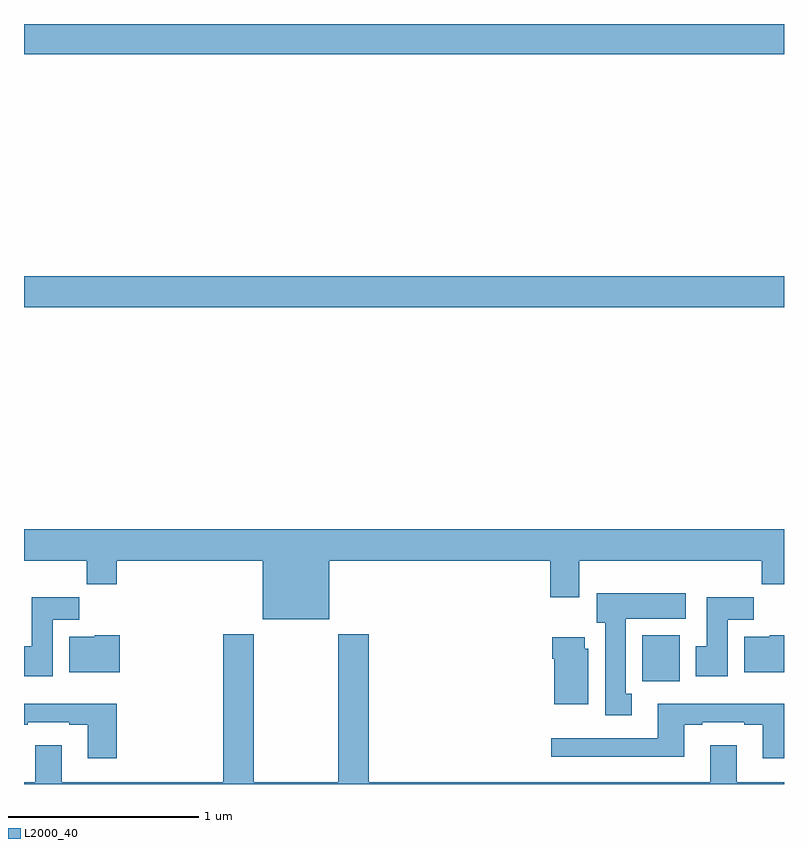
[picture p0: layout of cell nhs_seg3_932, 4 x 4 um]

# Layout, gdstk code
import gdstk
lib = gdstk.Library(unit=1e-6, precision=1e-09)
def R(c, l, rs):  # rectangles x0, y0, x1, y1
    for r in rs: c.add(gdstk.rectangle(r[:2], r[2:], *l))
def P(c, l, *ps):  # polygons
    for p in ps: c.add(gdstk.Polygon(p, *l))
L2000_40 = (2000, 40)

nhs_seg3_932 = lib.new_cell('nhs_seg3_932')
R(nhs_seg3_932, L2000_40, [(162.254,706.94,162.451,707.182), (159,708.908,163,709.072), (159,710.24,163,710.4)])
P(nhs_seg3_932, L2000_40, [(160.606,707.576),(161.771,707.576),(161.771,707.382),(161.923,707.382),(161.923,707.576),(162.883,707.576),(162.883,707.452),(163,707.452),(163,707.74),(159,707.74),(159,707.576),(159.331,707.576),(159.331,707.452),(159.488,707.452),(159.488,707.576),(160.256,707.576),(160.256,707.267),(160.606,707.267)],
  [(162.199,706.874),(162.166,706.874),(162.166,707.27),(162.484,707.27),(162.484,707.404),(162.014,707.404),(162.014,707.25),(162.059,707.25),(162.059,706.761),(162.199,706.761)],
  [(159.151,707.264),(159.29,707.264),(159.29,707.383),(159.041,707.383),(159.041,707.124),(159,707.124),(159,706.968),(159.151,706.968)],
  [(162.703,707.264),(162.842,707.264),(162.842,707.383),(162.593,707.383),(162.593,707.124),(162.536,707.124),(162.536,706.968),(162.703,706.968)],
  [(163,706.408),(162.751,706.408),(162.751,706.603),(162.611,706.603),(162.611,706.408),(160.814,706.408),(160.814,707.188),(160.654,707.188),(160.654,706.408),(160.209,706.408),(160.209,707.188),(160.049,707.188),(160.049,706.408),(159.199,706.408),(159.199,706.603),(159.059,706.603),(159.059,706.408),(159,706.408),(159,706.4),(163,706.4)],
  [(163,707.182),(162.924,707.182),(162.924,707.176),(162.791,707.176),(162.791,706.988),(163,706.988)],
  [(159.503,707.182),(159.372,707.182),(159.372,707.176),(159.239,707.176),(159.239,706.988),(159.503,706.988)],
  [(161.971,707.112),(161.95,707.112),(161.95,707.173),(161.78,707.173),(161.78,707.06),(161.792,707.06),(161.792,706.82),(161.971,706.82)],
  [(163,706.822),(162.335,706.822),(162.335,706.641),(161.775,706.641),(161.775,706.544),(162.475,706.544),(162.475,706.713),(162.571,706.713),(162.571,706.725),(162.791,706.725),(162.791,706.713),(162.887,706.713),(162.887,706.536),(163,706.536)],
  [(159.488,706.822),(159,706.822),(159,706.713),(159.019,706.713),(159.019,706.725),(159.239,706.725),(159.239,706.713),(159.335,706.713),(159.335,706.536),(159.488,706.536)])

lib.write_gds('nhs_seg3_932.gds')
